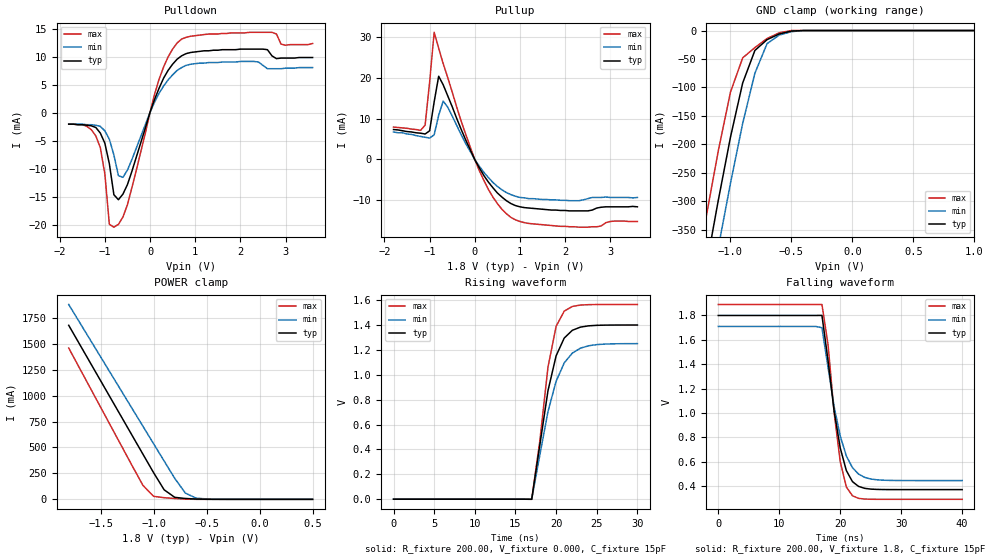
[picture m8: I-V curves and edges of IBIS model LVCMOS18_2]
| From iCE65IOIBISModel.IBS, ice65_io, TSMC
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|   Model LVCMOS18_2
[Model]   LVCMOS18_2
Model_type   I/O
Polarity   Non-Inverting
Enable   Active-High
Vinl =   0.63V
Vinh =   1.17V
Vmeas =   0.9V
Cref =  15.00pF
Rref =   1.00M
Vref =  0.000V
C_comp   1.30pF   1.17pF   1.43pF
[Temperature Range]   25.00   85   -40.00
[Voltage Range]   1.8V   1.71V   1.89V
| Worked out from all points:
|   slope of the pulldown table from 0 to 0.27 V, typ, clamps not added: 48.6 ohm
|   slope of the pullup table from 0 to 0.27 V, typ, clamps not added: 53.8 ohm
|   GND clamp passes 1 mA (typ) near -0.50 V on its own axis
|   POWER clamp passes 1 mA (typ) near -0.52 V on its own axis
|   rising waveform, R_fixture 200.00, V_fixture 0.000, C_fixture 15pF: 20-80 % time 2.24ns typ, 2.65ns min, 1.91ns max; typ from 0 V to 1.4 V
|   falling waveform, R_fixture 200.00, V_fixture 1.8, C_fixture 15pF: 20-80 % time 2.53ns typ, 2.94ns min, 2ns max; typ from 1.8 V to 0.372 V
[Pulldown]
| voltage I(typ) I(min) I(max)
-1.8V     -2mA       -2mA       -2mA
-1.2V     -2.6mA     -2.2mA     -4.1mA
-1V       -5.4mA     -3.2mA     -10.9mA
-900mV    -9.1mA     -4.7mA     -19.9mA
-800mV    -14.6mA    -7.5mA     -20.4mA
-700mV    -15.5mA    -11.2mA    -19.9mA
-600mV    -14.5mA    -11.5mA    -18.6mA
200mV     4.4mA      3.5mA      6mA
600mV     9.6mA      7.6mA      12.5mA
2.7V      10.2mA     7.9mA      14.4mA
2.9V      9.8mA      7.9mA      12.3mA
3.6V      9.9mA      8.1mA      12.4mA
[Pullup]
| voltage I(typ) I(min) I(max)
-1.8V     7.3mA      6.7mA      7.9mA
-1.2V     6.4mA      5.6mA      7.1mA
-1.1V     6.2mA      5.4mA      8.4mA
-1V       7mA        5.2mA      19mA
-900mV    14.1mA     6mA        31.2mA
-800mV    20.4mA     10.8mA     27.3mA
-700mV    18.3mA     14.3mA     23.5mA
100mV     -2.1mA     -1.7mA     -2.8mA
400mV     -7mA       -5.7mA     -9.3mA
700mV     -10.2mA    -8.2mA     -13.4mA
1.9V      -12.6mA    -10.1mA    -16.5mA
3.6V      -11.7mA    -9.4mA     -15.3mA
[GND_clamp]
| voltage I(typ) I(min) I(max)
-1.8V     -1.146A    -1.208A    -1.081A
-1.3V     -535mA     -613mA     -451mA
-1.2V     -416mA     -496mA     -328mA
-1.1V     -298mA     -381mA     -211mA
-1V       -187mA     -268mA     -108mA
-900mV    -92mA      -163mA     -48mA
-800mV    -35mA      -75mA      -30mA
-700mV    -16mA      -23mA      -14mA
-600mV    -6mA       -8mA       -4mA
-500mV    -1mA       -2mA       0A
-400mV    0A         0A         0A
1V        0A         0A         0A
[POWER_clamp]
| voltage I(typ) I(min) I(max)
-1.8V     1.678A     1.879A     1.459A
-1.1V     435.3mA    704.4mA    134.7mA
-1V       257.9mA    536.9mA    28.9mA
-900mV    91.8mA     369.3mA    15.8mA
-800mV    19.2mA     202.2mA    8mA
-700mV    8.2mA      60.4mA     2.3mA
-600mV    3mA        11.6mA     100uA
-400mV    0A         800uA      0A
500mV     0A         0A         0A
[Ramp]
| variable   typ   min   max
dV/dt_r   0.83982/2.512n  0.750072/2.546n  0.9387/1.714n
dV/dt_f   0.85695/2.91n   0.758496/3.353n  0.958806/2.2377n
R_load = 200
[Rising Waveform]
R_fixture = 200.00
V_fixture = 0.000
V_fixture_min = 0.000
V_fixture_max = 0.000
L_fixture = 0.000H
C_fixture = 15pF
| time   V(typ)   V(min)   V(max)
0s        0V         0V         0V
17ns      -1mV       0V         0V
18ns      436mV      355.2mV    468.9mV
19ns      871.1mV    703.8mV    1.06V
20ns      1.152V     947.7mV    1.389V
21ns      1.295V     1.095V     1.511V
22ns      1.357V     1.174V     1.549V
23ns      1.383V     1.214V     1.56V
24ns      1.393V     1.233V     1.563V
30ns      1.4V       1.25V      1.565V
[Falling Waveform]
R_fixture = 200.00
V_fixture = 1.8
V_fixture_min = 1.71
V_fixture_max = 1.89
L_fixture = 0.000H
C_fixture = 15pF
| time   V(typ)   V(min)   V(max)
0s        1.8V       1.71V      1.89V
17ns      1.8V       1.699V     1.89V
18ns      1.429V     1.374V     1.56V
19ns      1.015V     1.051V     1.002V
20ns      712.9mV    810.8mV    600.9mV
21ns      527.9mV    648mV      393.6mV
22ns      437.3mV    551.4mV    321.2mV
24ns      382.1mV    472.1mV    294.1mV
26ns      373.3mV    452.1mV    292.1mV
40ns      371.7mV    445.8mV    291.9mV
